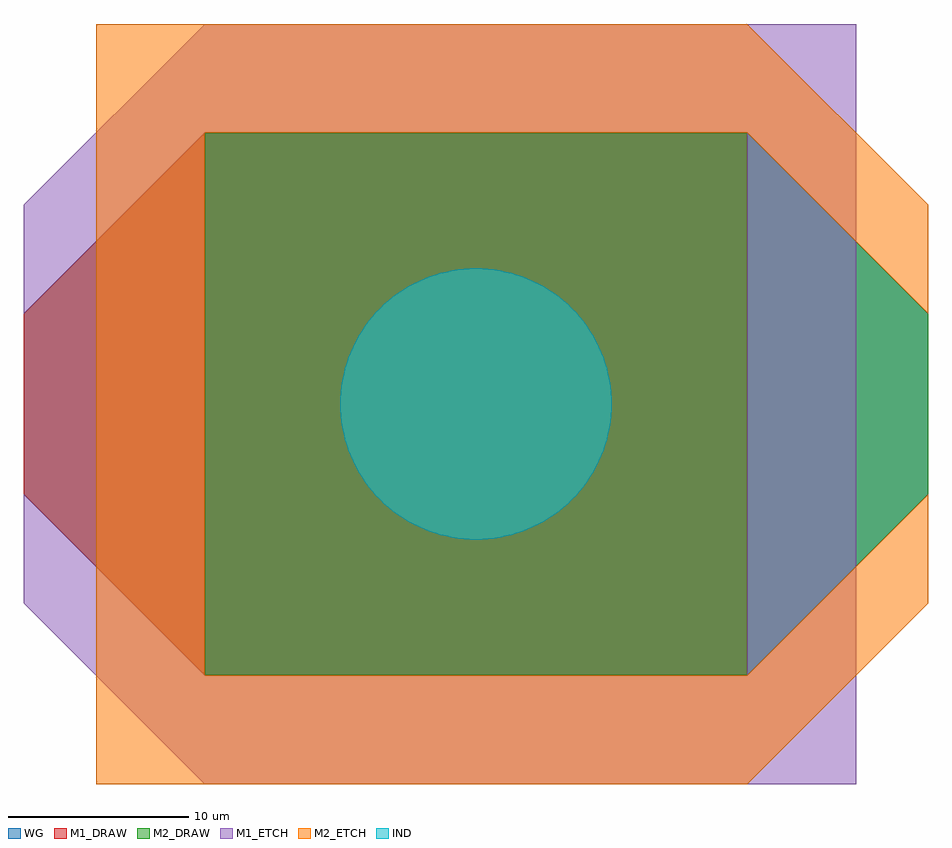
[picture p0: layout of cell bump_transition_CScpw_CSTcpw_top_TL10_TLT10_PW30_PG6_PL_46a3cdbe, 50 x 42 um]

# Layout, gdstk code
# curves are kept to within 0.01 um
from math import pi, radians
import gdstk
lib = gdstk.Library(unit=1e-6, precision=1e-09)
def R(c, l, rs):  # rectangles x0, y0, x1, y1
    for r in rs: c.add(gdstk.rectangle(r[:2], r[2:], *l))
def P(c, l, *ps):  # polygons
    for p in ps: c.add(gdstk.Polygon(p, *l))
M1_DRAW = (1, 0)
M1_ETCH = (1, 1)
M2_DRAW = (2, 0)
M2_ETCH = (2, 1)
IND = (30, 0)
WG = (102, 0)

circle_gdsfactorypcompon = lib.new_cell('circle_gdsfactorypcomponentspshapespcircle_R7p5_AR2p5_LIND')
P(circle_gdsfactorypcompon, IND, [(0,-7.5),(-0.654,-7.471),(-1.302,-7.386),(-1.623,-7.322),(-2.255,-7.153),(-2.87,-6.929),(-3.463,-6.653),(-3.75,-6.495),(-4.302,-6.144),(-4.821,-5.745),(-5.303,-5.303),(-5.745,-4.821),(-6.144,-4.302),(-6.495,-3.75),(-6.653,-3.463),(-6.929,-2.87),(-7.153,-2.255),(-7.322,-1.623),(-7.386,-1.302),(-7.471,-0.654),(-7.5,0),(-7.471,0.654),(-7.386,1.302),(-7.322,1.623),(-7.153,2.255),(-6.929,2.87),(-6.653,3.463),(-6.495,3.75),(-6.144,4.302),(-5.745,4.821),(-5.303,5.303),(-4.821,5.745),(-4.302,6.144),(-3.75,6.495),(-3.463,6.653),(-2.87,6.929),(-2.255,7.153),(-1.623,7.322),(-1.302,7.386),(-0.654,7.471),(0,7.5),(0.654,7.471),(1.302,7.386),(1.623,7.322),(2.255,7.153),(2.87,6.929),(3.463,6.653),(3.75,6.495),(4.302,6.144),(4.821,5.745),(5.303,5.303),(5.745,4.821),(6.144,4.302),(6.495,3.75),(6.653,3.463),(6.929,2.87),(7.153,2.255),(7.322,1.623),(7.386,1.302),(7.471,0.654),(7.5,0),(7.471,-0.654),(7.386,-1.302),(7.322,-1.623),(7.153,-2.255),(6.929,-2.87),(6.653,-3.463),(6.495,-3.75),(6.144,-4.302),(5.745,-4.821),(5.303,-5.303),(4.821,-5.745),(4.302,-6.144),(3.75,-6.495),(3.463,-6.653),(2.87,-6.929),(2.255,-7.153),(1.623,-7.322),(1.302,-7.386),(0.654,-7.471)])

indium_bump_d15 = lib.new_cell('indium_bump_D15')
indium_bump_d15.add(gdstk.Reference(circle_gdsfactorypcompon, (0,0)))

taper_cross_section_gdsf = lib.new_cell('taper_cross_section_gdsfactorypcomponentsptapersptaper__d50aa6bc')
P(taper_cross_section_gdsf, M1_DRAW, [(10,-15),(0,-5),(0,5),(10,15)])
P(taper_cross_section_gdsf, M1_ETCH, [(10,-21),(0,-11),(0,-5),(10,-15)],
  [(0,5),(0,11),(10,21),(10,15)])
P(taper_cross_section_gdsf, WG, [(10,-15),(0,-5),(0,5),(10,15)])

c_taper_cross_section_gdsf = lib.new_cell('taper_cross_section_gdsfactorypcomponentsptapersptaper__ec81792f')
P(c_taper_cross_section_gdsf, M2_DRAW, [(10,-15),(0,-5),(0,5),(10,15)])
P(c_taper_cross_section_gdsf, M2_ETCH, [(10,-21),(0,-11),(0,-5),(10,-15)],
  [(0,5),(0,11),(10,21),(10,15)])
P(c_taper_cross_section_gdsf, WG, [(10,-15),(0,-5),(0,5),(10,15)])

bump_transition_cscpw_cs = lib.new_cell('bump_transition_CScpw_CSTcpw_top_TL10_TLT10_PW30_PG6_PL_46a3cdbe')
R(bump_transition_cscpw_cs, M1_DRAW, [(-15,-15,15,15)])
R(bump_transition_cscpw_cs, M1_ETCH, [(-15,-21,15,-15), (15,-21,21,21), (-15,15,15,21)])
R(bump_transition_cscpw_cs, M2_DRAW, [(-15,-15,15,15)])
R(bump_transition_cscpw_cs, M2_ETCH, [(-21,-21,-15,21), (-15,-21,15,-15), (-15,15,15,21)])
R(bump_transition_cscpw_cs, WG, [(-15,-15,15,15), (-15,-15,15,15)])
bump_transition_cscpw_cs.add(gdstk.Reference(indium_bump_d15, (0,0)))
bump_transition_cscpw_cs.add(gdstk.Reference(taper_cross_section_gdsf, (-25,0)))
bump_transition_cscpw_cs.add(gdstk.Reference(c_taper_cross_section_gdsf, (25,0), rotation=pi))

lib.write_gds('bump_transition_CScpw_CSTcpw_top_TL10_TLT10_PW30_PG6_PL_46a3cdbe.gds')
